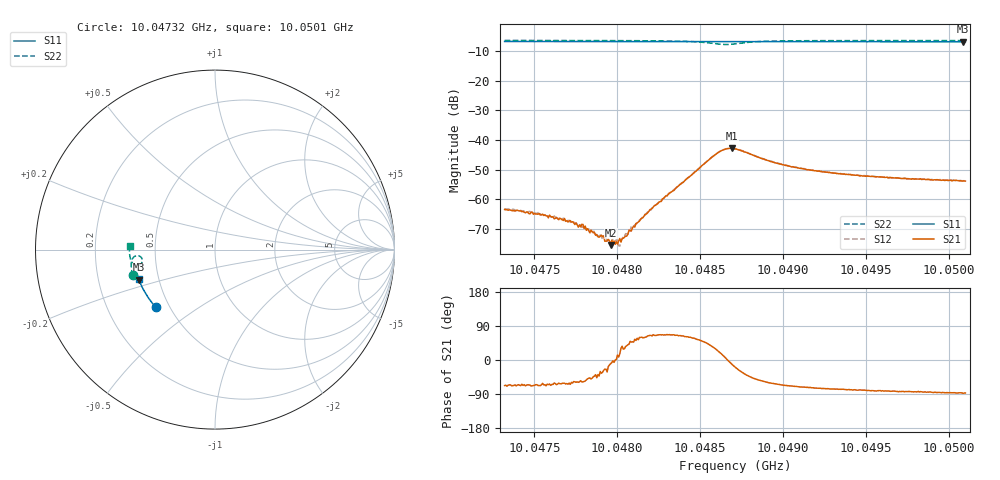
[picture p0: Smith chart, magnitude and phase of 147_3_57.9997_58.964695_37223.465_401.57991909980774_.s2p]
#  HZ  S  RI  R  50.00
! Rohde & Schwarz Vector Network Analyzer
! Rohde-Schwarz,ZNB20-2Port,1311601062101988,3.16
! Created: UTC 3/21/2024, 12:56:53 AM
! freq[Hz]  re:S11  im:S11  re:S21  im:S21  re:S12  im:S12  re:S22  im:S22
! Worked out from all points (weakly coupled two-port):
!   401 points, 10.04732 GHz to 10.0501 GHz, reference 50 ohm
!   highest |S21| = -42.75 dB at 10.04869 GHz (marker M1); lowest = -75.3 dB at 10.04796 GHz (marker M2)
!   lowest |S11| = -6.8 dB at 10.05009 GHz (marker M3), VSWR 2.67, Z = 19.3 - j8.14 ohm
!   |S11| at or under -10 dB: nowhere
!   |S22| runs from -7.8 to -6.4 dB; largest |S21 - S12| = 0.00049
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1.0047321e10  -0.3289 -0.322  0.000259 -0.000626  0.000312 -0.000617  -0.4569 -0.1438
1.0047536e10  -0.3384 -0.3113  0.000209 -0.000506  0.000278 -0.000499  -0.4606 -0.129
1.0047634e10  -0.3427 -0.3064  0.000209 -0.000453  0.000234 -0.00043  -0.462 -0.1221
1.0047738e10  -0.3471 -0.3011  0.00022 -0.000336  0.000257 -0.000326  -0.4636 -0.1145
1.0047786e10  -0.349 -0.2985  0.000202 -0.000322  0.00021 -0.000267  -0.4643 -0.1108
1.0047884e10  -0.3529 -0.2934  0.000185 -0.000147  0.000196 -0.000148  -0.4655 -0.1033
1.004796e10  -0.3562 -0.2893  0.000169 -2.93e-05  0.000186 -3.13e-05  -0.4661 -0.0972
1.0047988e10  -0.3573 -0.2878  0.000175 -3.08e-07  0.000194 3.66e-05  -0.4664 -0.0947
1.0048002e10  -0.3579 -0.2871  0.000173 4.03e-05  0.000192 6.77e-05  -0.4666 -0.0936
1.0048023e10  -0.3587 -0.2861  0.000164 9.82e-05  0.00018 9.22e-05  -0.4666 -0.092
1.0048037e10  -0.3592 -0.2854  0.000195 0.000107  0.000197 0.00014  -0.4668 -0.0908
1.0048099e10  -0.3616 -0.282  0.000241 0.000262  0.000225 0.000274  -0.467 -0.0852
1.0048252e10  -0.3675 -0.2737  0.000362 0.00083  0.000292 0.000848  -0.4665 -0.0702
1.0048592e10  -0.3796 -0.2547  0.00497 0.00283  0.00483 0.00316  -0.4214 -0.0358
1.0048641e10  -0.3812 -0.2521  0.00674 0.00129  0.0067 0.00168  -0.4067 -0.0502
1.004869e10  -0.3826 -0.2497  0.00717 -0.00132  0.00726 -0.000877  -0.4069 -0.0725
1.004871e10  -0.3835 -0.2486  0.00675 -0.00226  0.00695 -0.00185  -0.4121 -0.08
1.004894e10  -0.3916 -0.2358  0.00201 -0.00376  0.00225 -0.00367  -0.4619 -0.0727
1.0049176e10  -0.3992 -0.222  0.000884 -0.00297  0.00108 -0.00296  -0.4722 -0.0478
1.0049641e10  -0.4125 -0.1944  0.000318 -0.00232  0.00045 -0.00227  -0.4765 -0.0101
1.0050086e10  -0.4235 -0.1672  7.39e-05 -0.00205  0.000236 -0.00205  -0.4764 0.0216
1.00501e10  -0.4238 -0.1663  0.000106 -0.00204  0.000232 -0.00205  -0.4762 0.0228
